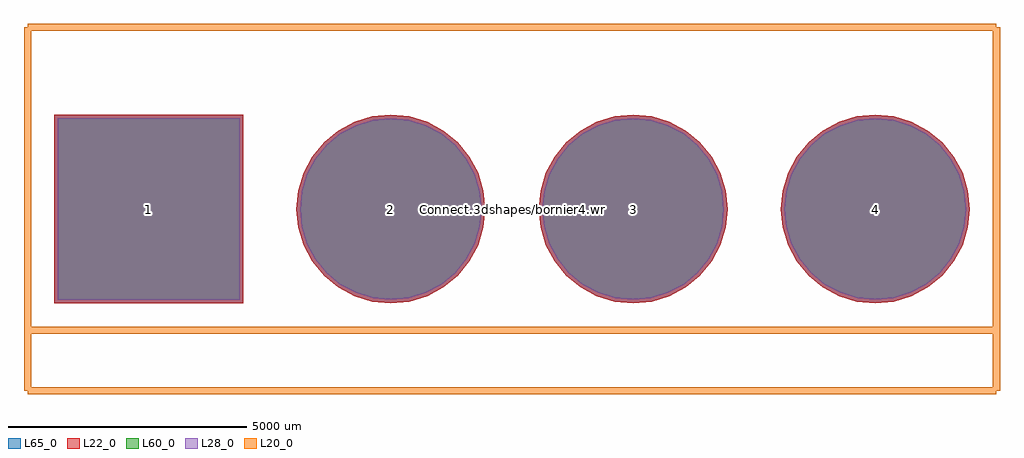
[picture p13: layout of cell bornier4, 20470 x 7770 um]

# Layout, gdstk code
import gdstk
lib = gdstk.Library(unit=1e-6, precision=1e-09)
def R(c, l, rs):  # rectangles x0, y0, x1, y1
    for r in rs: c.add(gdstk.rectangle(r[:2], r[2:], *l))
def P(c, l, *ps):  # polygons
    for p in ps: c.add(gdstk.Polygon(p, *l))
L20_0 = (20, 0)
L22_0 = (22, 0)
L28_0 = (28, 0)
L60_0 = (60, 0)
L65_0 = (65, 0)

bornier4 = lib.new_cell('bornier4')
R(bornier4, L22_0, [(-9600,-1980,-5640,1980)])
P(bornier4, L22_0, [(9600,0),(9561.955,386.279),(9449.281,757.713),(9266.31,1100.029),(9020.071,1400.071),(8720.029,1646.31),(8377.713,1829.281),(8006.279,1941.955),(7620,1980),(7233.721,1941.955),(6862.287,1829.281),(6519.971,1646.31),(6219.929,1400.071),(5973.69,1100.029),(5790.719,757.713),(5678.045,386.279),(5640,0),(5678.045,-386.279),(5790.719,-757.713),(5973.69,-1100.029),(6219.929,-1400.071),(6519.971,-1646.31),(6862.287,-1829.281),(7233.721,-1941.955),(7620,-1980),(8006.279,-1941.955),(8377.713,-1829.281),(8720.029,-1646.31),(9020.071,-1400.071),(9266.31,-1100.029),(9449.281,-757.713),(9561.955,-386.279)],
  [(4520,0),(4481.955,386.279),(4369.281,757.713),(4186.31,1100.029),(3940.071,1400.071),(3640.029,1646.31),(3297.713,1829.281),(2926.279,1941.955),(2540,1980),(2153.721,1941.955),(1782.287,1829.281),(1439.971,1646.31),(1139.929,1400.071),(893.69,1100.029),(710.719,757.713),(598.045,386.279),(560,0),(598.045,-386.279),(710.719,-757.713),(893.69,-1100.029),(1139.929,-1400.071),(1439.971,-1646.31),(1782.287,-1829.281),(2153.721,-1941.955),(2540,-1980),(2926.279,-1941.955),(3297.713,-1829.281),(3640.029,-1646.31),(3940.071,-1400.071),(4186.31,-1100.029),(4369.281,-757.713),(4481.955,-386.279)],
  [(-560,0),(-598.045,386.279),(-710.719,757.713),(-893.69,1100.029),(-1139.929,1400.071),(-1439.971,1646.31),(-1782.287,1829.281),(-2153.721,1941.955),(-2540,1980),(-2926.279,1941.955),(-3297.713,1829.281),(-3640.029,1646.31),(-3940.071,1400.071),(-4186.31,1100.029),(-4369.281,757.713),(-4481.955,386.279),(-4520,0),(-4481.955,-386.279),(-4369.281,-757.713),(-4186.31,-1100.029),(-3940.071,-1400.071),(-3640.029,-1646.31),(-3297.713,-1829.281),(-2926.279,-1941.955),(-2540,-1980),(-2153.721,-1941.955),(-1782.287,-1829.281),(-1439.971,-1646.31),(-1139.929,-1400.071),(-893.69,-1100.029),(-710.719,-757.713),(-598.045,-386.279)])
R(bornier4, L28_0, [(-9525,-1905,-5715,1905)])
P(bornier4, L28_0, [(9525,0),(9488.396,371.647),(9379.991,729.012),(9203.95,1058.361),(8967.038,1347.038),(8678.361,1583.95),(8349.012,1759.991),(7991.647,1868.396),(7620,1905),(7248.353,1868.396),(6890.988,1759.991),(6561.639,1583.95),(6272.962,1347.038),(6036.05,1058.361),(5860.009,729.012),(5751.604,371.647),(5715,0),(5751.604,-371.647),(5860.009,-729.012),(6036.05,-1058.361),(6272.962,-1347.038),(6561.639,-1583.95),(6890.988,-1759.991),(7248.353,-1868.396),(7620,-1905),(7991.647,-1868.396),(8349.012,-1759.991),(8678.361,-1583.95),(8967.038,-1347.038),(9203.95,-1058.361),(9379.991,-729.012),(9488.396,-371.647)],
  [(4445,0),(4408.396,371.647),(4299.991,729.012),(4123.95,1058.361),(3887.038,1347.038),(3598.361,1583.95),(3269.012,1759.991),(2911.647,1868.396),(2540,1905),(2168.353,1868.396),(1810.988,1759.991),(1481.639,1583.95),(1192.962,1347.038),(956.05,1058.361),(780.009,729.012),(671.604,371.647),(635,0),(671.604,-371.647),(780.009,-729.012),(956.05,-1058.361),(1192.962,-1347.038),(1481.639,-1583.95),(1810.988,-1759.991),(2168.353,-1868.396),(2540,-1905),(2911.647,-1868.396),(3269.012,-1759.991),(3598.361,-1583.95),(3887.038,-1347.038),(4123.95,-1058.361),(4299.991,-729.012),(4408.396,-371.647)],
  [(-635,0),(-671.604,371.647),(-780.009,729.012),(-956.05,1058.361),(-1192.962,1347.038),(-1481.639,1583.95),(-1810.988,1759.991),(-2168.353,1868.396),(-2540,1905),(-2911.647,1868.396),(-3269.012,1759.991),(-3598.361,1583.95),(-3887.038,1347.038),(-4123.95,1058.361),(-4299.991,729.012),(-4408.396,371.647),(-4445,0),(-4408.396,-371.647),(-4299.991,-729.012),(-4123.95,-1058.361),(-3887.038,-1347.038),(-3598.361,-1583.95),(-3269.012,-1759.991),(-2911.647,-1868.396),(-2540,-1905),(-2168.353,-1868.396),(-1810.988,-1759.991),(-1481.639,-1583.95),(-1192.962,-1347.038),(-956.05,-1058.361),(-780.009,-729.012),(-671.604,-371.647)])
R(bornier4, L60_0, [(-9525,-1905,-5715,1905)])
P(bornier4, L60_0, [(9525,0),(9488.396,371.647),(9379.991,729.012),(9203.95,1058.361),(8967.038,1347.038),(8678.361,1583.95),(8349.012,1759.991),(7991.647,1868.396),(7620,1905),(7248.353,1868.396),(6890.988,1759.991),(6561.639,1583.95),(6272.962,1347.038),(6036.05,1058.361),(5860.009,729.012),(5751.604,371.647),(5715,0),(5751.604,-371.647),(5860.009,-729.012),(6036.05,-1058.361),(6272.962,-1347.038),(6561.639,-1583.95),(6890.988,-1759.991),(7248.353,-1868.396),(7620,-1905),(7991.647,-1868.396),(8349.012,-1759.991),(8678.361,-1583.95),(8967.038,-1347.038),(9203.95,-1058.361),(9379.991,-729.012),(9488.396,-371.647)],
  [(4445,0),(4408.396,371.647),(4299.991,729.012),(4123.95,1058.361),(3887.038,1347.038),(3598.361,1583.95),(3269.012,1759.991),(2911.647,1868.396),(2540,1905),(2168.353,1868.396),(1810.988,1759.991),(1481.639,1583.95),(1192.962,1347.038),(956.05,1058.361),(780.009,729.012),(671.604,371.647),(635,0),(671.604,-371.647),(780.009,-729.012),(956.05,-1058.361),(1192.962,-1347.038),(1481.639,-1583.95),(1810.988,-1759.991),(2168.353,-1868.396),(2540,-1905),(2911.647,-1868.396),(3269.012,-1759.991),(3598.361,-1583.95),(3887.038,-1347.038),(4123.95,-1058.361),(4299.991,-729.012),(4408.396,-371.647)],
  [(-635,0),(-671.604,371.647),(-780.009,729.012),(-956.05,1058.361),(-1192.962,1347.038),(-1481.639,1583.95),(-1810.988,1759.991),(-2168.353,1868.396),(-2540,1905),(-2911.647,1868.396),(-3269.012,1759.991),(-3598.361,1583.95),(-3887.038,1347.038),(-4123.95,1058.361),(-4299.991,729.012),(-4408.396,371.647),(-4445,0),(-4408.396,-371.647),(-4299.991,-729.012),(-4123.95,-1058.361),(-3887.038,-1347.038),(-3598.361,-1583.95),(-3269.012,-1759.991),(-2911.647,-1868.396),(-2540,-1905),(-2168.353,-1868.396),(-1810.988,-1759.991),(-1481.639,-1583.95),(-1192.962,-1347.038),(-956.05,-1058.361),(-780.009,-729.012),(-671.604,-371.647)])
R(bornier4, L65_0, [(-9600,-1980,-5640,1980)])
P(bornier4, L65_0, [(9600,0),(9561.955,386.279),(9449.281,757.713),(9266.31,1100.029),(9020.071,1400.071),(8720.029,1646.31),(8377.713,1829.281),(8006.279,1941.955),(7620,1980),(7233.721,1941.955),(6862.287,1829.281),(6519.971,1646.31),(6219.929,1400.071),(5973.69,1100.029),(5790.719,757.713),(5678.045,386.279),(5640,0),(5678.045,-386.279),(5790.719,-757.713),(5973.69,-1100.029),(6219.929,-1400.071),(6519.971,-1646.31),(6862.287,-1829.281),(7233.721,-1941.955),(7620,-1980),(8006.279,-1941.955),(8377.713,-1829.281),(8720.029,-1646.31),(9020.071,-1400.071),(9266.31,-1100.029),(9449.281,-757.713),(9561.955,-386.279)],
  [(4520,0),(4481.955,386.279),(4369.281,757.713),(4186.31,1100.029),(3940.071,1400.071),(3640.029,1646.31),(3297.713,1829.281),(2926.279,1941.955),(2540,1980),(2153.721,1941.955),(1782.287,1829.281),(1439.971,1646.31),(1139.929,1400.071),(893.69,1100.029),(710.719,757.713),(598.045,386.279),(560,0),(598.045,-386.279),(710.719,-757.713),(893.69,-1100.029),(1139.929,-1400.071),(1439.971,-1646.31),(1782.287,-1829.281),(2153.721,-1941.955),(2540,-1980),(2926.279,-1941.955),(3297.713,-1829.281),(3640.029,-1646.31),(3940.071,-1400.071),(4186.31,-1100.029),(4369.281,-757.713),(4481.955,-386.279)],
  [(-560,0),(-598.045,386.279),(-710.719,757.713),(-893.69,1100.029),(-1139.929,1400.071),(-1439.971,1646.31),(-1782.287,1829.281),(-2153.721,1941.955),(-2540,1980),(-2926.279,1941.955),(-3297.713,1829.281),(-3640.029,1646.31),(-3940.071,1400.071),(-4186.31,1100.029),(-4369.281,757.713),(-4481.955,386.279),(-4520,0),(-4481.955,-386.279),(-4369.281,-757.713),(-4186.31,-1100.029),(-3940.071,-1400.071),(-3640.029,-1646.31),(-3297.713,-1829.281),(-2926.279,-1941.955),(-2540,-1980),(-2153.721,-1941.955),(-1782.287,-1829.281),(-1439.971,-1646.31),(-1139.929,-1400.071),(-893.69,-1100.029),(-710.719,-757.713),(-598.045,-386.279)])
bornier4.add(gdstk.FlexPath([(-10160,-3810),(10160,-3810)], 149.998, ends="flush", simple_path=True, layer=20, datatype=0))  # L20_0
bornier4.add(gdstk.FlexPath([(-10160,3810),(10160,3810)], 149.998, ends="flush", simple_path=True, layer=20, datatype=0))  # L20_0
bornier4.add(gdstk.FlexPath([(10160,-2540),(-10160,-2540)], 149.998, ends="flush", simple_path=True, layer=20, datatype=0))  # L20_0
bornier4.add(gdstk.FlexPath([(10160,-3810),(10160,3810)], 149.998, ends="flush", simple_path=True, layer=20, datatype=0))  # L20_0
bornier4.add(gdstk.FlexPath([(-10160,3810),(-10160,-3810)], 149.998, ends="flush", simple_path=True, layer=20, datatype=0))  # L20_0
bornier4.add(gdstk.Label('Connect.3dshapes/bornier4.wrl', (0,0), layer=12, texttype=0))
bornier4.add(gdstk.Label('4', (7620,0), layer=28, texttype=0))
bornier4.add(gdstk.Label('1', (-7620,0), layer=28, texttype=0))
bornier4.add(gdstk.Label('3', (2540,0), layer=28, texttype=0))
bornier4.add(gdstk.Label('2', (-2540,0), layer=28, texttype=0))
bornier4.add(gdstk.Label('type', (0,-5080), layer=9, texttype=0))
bornier4.add(gdstk.Label('devicename', (0,6350), layer=9, texttype=0))

lib.write_gds('bornier4.gds')
